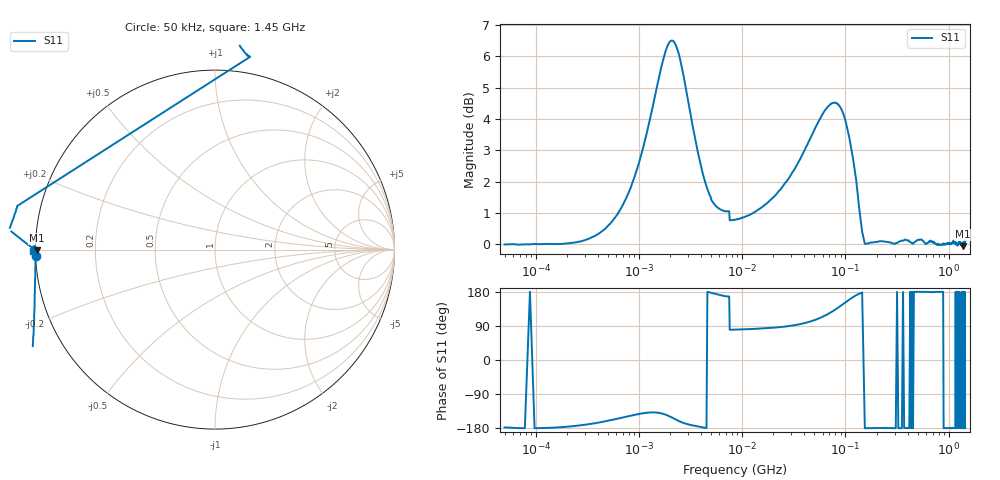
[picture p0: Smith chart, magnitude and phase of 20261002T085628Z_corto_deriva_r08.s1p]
! piloto_deriva / corto_deriva / r08
# HZ S RI R 50
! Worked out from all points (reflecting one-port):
!   501 points, 50 kHz to 1.45 GHz, reference 50 ohm
!   lowest |S11| = -0.1 dB at 1.369 GHz (marker M1), VSWR 266.18, Z = 0.188 - j0.0824 ohm
!   phase of S11 starts at -178 deg and turns -2 deg over the sweep
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50000  -0.9981 -0.0365
183000  -0.9996 -0.0523
373000  -1.004 -0.2334
658000  -1.013 -0.5111
1180000  -1.134 -0.9752
1630000  -1.471 -1.211
1990000  -1.808 -1.083
2170000  -1.899 -0.9171
2440000  -1.902 -0.6476
3070000  -1.632 -0.2717
4330000  -1.265 -0.0308
7300000  -1.102 0.2421
7750000  0.1943 1.074
8560000  0.1875 1.078
1.9e7  0.109 1.174
3.16e7  -0.0349 1.311
4.69e7  -0.3235 1.453
6.76e7  -0.8603 1.417
7.93e7  -1.139 1.238
9.37e7  -1.355 0.9001
9.82e7  -1.385 0.7843
1e8  -1.391 0.7379
1.18e8  -1.331 0.3395
1.36e8  -1.134 0.1006
1.63e8  -1.002 -0.00363
4.06e8  -1.014 -0.0203
1.369e9  -0.9925 -0.00327
1.45e9  -1.012 -0.00679
